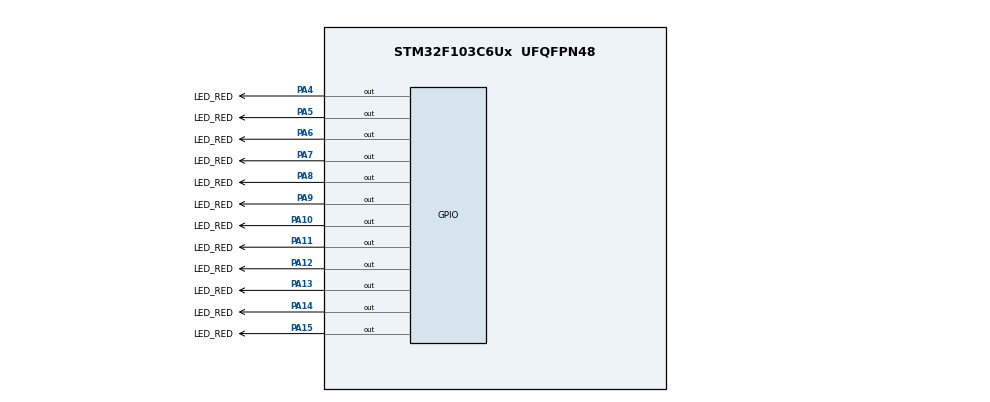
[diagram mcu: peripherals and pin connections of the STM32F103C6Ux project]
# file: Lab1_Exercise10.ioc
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Mcu.Family=STM32F1
Mcu.Name=STM32F103C6Ux
Mcu.Package=UFQFPN48
NVIC.PriorityGroup=NVIC_PRIORITYGROUP_4
PA10.GPIO_Label=LED_RED
PA10.PinState=GPIO_PIN_SET
PA10.Signal=GPIO_Output
PA11.GPIO_Label=LED_RED
PA11.PinState=GPIO_PIN_SET
PA11.Signal=GPIO_Output
PA12.GPIO_Label=LED_RED
PA12.PinState=GPIO_PIN_SET
PA12.Signal=GPIO_Output
PA13.GPIO_Label=LED_RED
PA13.PinState=GPIO_PIN_SET
PA13.Signal=GPIO_Output
PA14.GPIO_Label=LED_RED
PA14.PinState=GPIO_PIN_SET
PA14.Signal=GPIO_Output
PA15.GPIO_Label=LED_RED
PA15.PinState=GPIO_PIN_SET
PA15.Signal=GPIO_Output
PA4.GPIO_Label=LED_RED
PA4.PinState=GPIO_PIN_SET
PA4.Signal=GPIO_Output
PA5.GPIO_Label=LED_RED
PA5.PinState=GPIO_PIN_SET
PA5.Signal=GPIO_Output
PA6.GPIO_Label=LED_RED
PA6.PinState=GPIO_PIN_SET
PA6.Signal=GPIO_Output
PA7.GPIO_Label=LED_RED
PA7.PinState=GPIO_PIN_SET
PA7.Signal=GPIO_Output
PA8.GPIO_Label=LED_RED
PA8.PinState=GPIO_PIN_SET
PA8.Signal=GPIO_Output
PA9.GPIO_Label=LED_RED
PA9.PinState=GPIO_PIN_SET
PA9.Signal=GPIO_Output
ProjectManager.HeapSize=0x200
ProjectManager.StackSize=0x400
ProjectManager.TargetToolchain=STM32CubeIDE
RCC.APB1Freq_Value=8000000
RCC.APB2Freq_Value=8000000
VP_SYS_VS_ND.Mode=No_Debug
board=custom

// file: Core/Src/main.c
/* USER CODE BEGIN Header */
/**
  ******************************************************************************
  * @file           : main.c
  * @brief          : Main program body
  ******************************************************************************
  * @attention
  *
  * <h2><center>&copy; Copyright (c) 2026 STMicroelectronics.
  * All rights reserved.</center></h2>
  *
  * This software component is licensed by ST under BSD 3-Clause license,
  * the "License"; You may not use this file except in compliance with the
  * License. You may obtain a copy of the License at:
  *                        opensource.org/licenses/BSD-3-Clause
  *
  ******************************************************************************
  */
/* USER CODE END Header */
#include "main.h"

/* USER CODE BEGIN PV */
/* USER CODE BEGIN PV */

uint8_t hour_ex10   = 3;
uint8_t minute_ex10 = 25;
uint8_t second_ex10 = 40;

/* USER CODE END PV */
/* USER CODE END PV */

void SystemClock_Config(void);
static void MX_GPIO_Init(void);

/* USER CODE BEGIN 0 */
void clearAllClock(void)
{
    HAL_GPIO_WritePin(GPIOA,
                      GPIO_PIN_4  | GPIO_PIN_5  | GPIO_PIN_6  |
                      GPIO_PIN_7  | GPIO_PIN_8  | GPIO_PIN_9  |
                      GPIO_PIN_10 | GPIO_PIN_11 | GPIO_PIN_12 |
                      GPIO_PIN_13 | GPIO_PIN_14 | GPIO_PIN_15,
                      GPIO_PIN_SET);
}

void setNumberOnClock(int num)
{
    switch (num)
    {
        case 0:
            HAL_GPIO_WritePin(GPIOA, GPIO_PIN_4, GPIO_PIN_RESET);
            break;

        case 1:
            HAL_GPIO_WritePin(GPIOA, GPIO_PIN_5, GPIO_PIN_RESET);
            break;

        case 2:
            HAL_GPIO_WritePin(GPIOA, GPIO_PIN_6, GPIO_PIN_RESET);
            break;

        case 3:
            HAL_GPIO_WritePin(GPIOA, GPIO_PIN_7, GPIO_PIN_RESET);
            break;

        case 4:
            HAL_GPIO_WritePin(GPIOA, GPIO_PIN_8, GPIO_PIN_RESET);
            break;

        case 5:
            HAL_GPIO_WritePin(GPIOA, GPIO_PIN_9, GPIO_PIN_RESET);
            break;

        case 6:
            HAL_GPIO_WritePin(GPIOA, GPIO_PIN_10, GPIO_PIN_RESET);
            break;

        case 7:
            HAL_GPIO_WritePin(GPIOA, GPIO_PIN_11, GPIO_PIN_RESET);
            break;

        case 8:
            HAL_GPIO_WritePin(GPIOA, GPIO_PIN_12, GPIO_PIN_RESET);
            break;

        case 9:
            HAL_GPIO_WritePin(GPIOA, GPIO_PIN_13, GPIO_PIN_RESET);
            break;

        case 10:
            HAL_GPIO_WritePin(GPIOA, GPIO_PIN_14, GPIO_PIN_RESET);
            break;

        case 11:
            HAL_GPIO_WritePin(GPIOA, GPIO_PIN_15, GPIO_PIN_RESET);
            break;

        default:
            break;
    }
}

void clearNumberOnClock(int num)
{
    switch (num)
    {
        case 0:
            HAL_GPIO_WritePin(GPIOA, GPIO_PIN_4, GPIO_PIN_SET);
            break;

        case 1:
            HAL_GPIO_WritePin(GPIOA, GPIO_PIN_5, GPIO_PIN_SET);
            break;

        case 2:
            HAL_GPIO_WritePin(GPIOA, GPIO_PIN_6, GPIO_PIN_SET);
            break;

        case 3:
            HAL_GPIO_WritePin(GPIOA, GPIO_PIN_7, GPIO_PIN_SET);
            break;

        case 4:
            HAL_GPIO_WritePin(GPIOA, GPIO_PIN_8, GPIO_PIN_SET);
            break;

        case 5:
            HAL_GPIO_WritePin(GPIOA, GPIO_PIN_9, GPIO_PIN_SET);
            break;

        case 6:
            HAL_GPIO_WritePin(GPIOA, GPIO_PIN_10, GPIO_PIN_SET);
            break;

        case 7:
            HAL_GPIO_WritePin(GPIOA, GPIO_PIN_11, GPIO_PIN_SET);
            break;

        case 8:
            HAL_GPIO_WritePin(GPIOA, GPIO_PIN_12, GPIO_PIN_SET);
            break;

        case 9:
            HAL_GPIO_WritePin(GPIOA, GPIO_PIN_13, GPIO_PIN_SET);
            break;

        case 10:
            HAL_GPIO_WritePin(GPIOA, GPIO_PIN_14, GPIO_PIN_SET);
            break;

        case 11:
            HAL_GPIO_WritePin(GPIOA, GPIO_PIN_15, GPIO_PIN_SET);
            break;

        default:
            break;
    }
}

void displayClock(void)
{
    uint8_t hourPosition;
    uint8_t minutePosition;
    uint8_t secondPosition;

    /*
     * Convert time to positions 0..11
     *
     * Example:
     * 03:25:40
     *
     * hour   -> 3
     * minute -> 25 / 5 = 5
     * second -> 40 / 5 = 8
     */
    hourPosition   = hour_ex10 % 12;
    minutePosition = minute_ex10 / 5;
    secondPosition = second_ex10 / 5;

    // Clear previous display
    clearAllClock();

    // Display hour
    setNumberOnClock(hourPosition);

    // Display minute
    setNumberOnClock(minutePosition);

    // Display second
    setNumberOnClock(secondPosition);
}

/* =========================================================
 * Increase clock time by 1 second
 * ========================================================= */
void updateClock(void)
{
    second_ex10++;

    // 60 seconds -> increase minute
    if (second_ex10 >= 60)
    {
        second_ex10 = 0;
        minute_ex10++;
    }

    // 60 minutes -> increase hour
    if (minute_ex10 >= 60)
    {
        minute_ex10 = 0;
        hour_ex10++;
    }

    // 12 hours -> return to 0
    if (hour_ex10 >= 12)
    {
        hour_ex10 = 0;
    }
}

void EX10_RUN(void)
{
    updateClock();
    displayClock();
}
/* USER CODE END 0 */

int main(void)
{

  /* MCU Configuration--------------------------------------------------------*/

  /* Reset of all peripherals, Initializes the Flash interface and the Systick. */
  HAL_Init();

  /* Configure the system clock */
  SystemClock_Config();

  /* Initialize all configured peripherals */
  MX_GPIO_Init();
  /* USER CODE BEGIN 2 */
  displayClock();
  /* USER CODE END 2 */

  /* Infinite loop */
  while (1)
  {
	  HAL_Delay(1000);
      EX10_RUN();
  }
}

void SystemClock_Config(void)
{
  RCC_OscInitTypeDef RCC_OscInitStruct = {0};
  RCC_ClkInitTypeDef RCC_ClkInitStruct = {0};

  /** Initializes the RCC Oscillators according to the specified parameters
  * in the RCC_OscInitTypeDef structure.
  */
  RCC_OscInitStruct.OscillatorType = RCC_OSCILLATORTYPE_HSI;
  RCC_OscInitStruct.HSIState = RCC_HSI_ON;
  RCC_OscInitStruct.HSICalibrationValue = RCC_HSICALIBRATION_DEFAULT;
  RCC_OscInitStruct.PLL.PLLState = RCC_PLL_NONE;
  if (HAL_RCC_OscConfig(&RCC_OscInitStruct) != HAL_OK)
  {
    Error_Handler();
  }
  /** Initializes the CPU, AHB and APB buses clocks
  */
  RCC_ClkInitStruct.ClockType = RCC_CLOCKTYPE_HCLK|RCC_CLOCKTYPE_SYSCLK
                              |RCC_CLOCKTYPE_PCLK1|RCC_CLOCKTYPE_PCLK2;
  RCC_ClkInitStruct.SYSCLKSource = RCC_SYSCLKSOURCE_HSI;
  RCC_ClkInitStruct.AHBCLKDivider = RCC_SYSCLK_DIV1;
  RCC_ClkInitStruct.APB1CLKDivider = RCC_HCLK_DIV1;
  RCC_ClkInitStruct.APB2CLKDivider = RCC_HCLK_DIV1;

  if (HAL_RCC_ClockConfig(&RCC_ClkInitStruct, FLASH_LATENCY_0) != HAL_OK)
  {
    Error_Handler();
  }
}

static void MX_GPIO_Init(void)
{
  GPIO_InitTypeDef GPIO_InitStruct = {0};

  /* GPIO Ports Clock Enable */
  __HAL_RCC_GPIOA_CLK_ENABLE();

  /*Configure GPIO pin Output Level */
  HAL_GPIO_WritePin(GPIOA, LED_RED_Pin|LED_REDA5_Pin|LED_REDA6_Pin|LED_REDA7_Pin
                          |LED_REDA8_Pin|LED_REDA9_Pin|LED_REDA10_Pin|LED_REDA11_Pin
                          |LED_REDA12_Pin|LED_REDA13_Pin|LED_REDA14_Pin|LED_REDA15_Pin, GPIO_PIN_SET);

  /*Configure GPIO pins : LED_RED_Pin LED_REDA5_Pin LED_REDA6_Pin LED_REDA7_Pin
                           LED_REDA8_Pin LED_REDA9_Pin LED_REDA10_Pin LED_REDA11_Pin
                           LED_REDA12_Pin LED_REDA13_Pin LED_REDA14_Pin LED_REDA15_Pin */
  GPIO_InitStruct.Pin = LED_RED_Pin|LED_REDA5_Pin|LED_REDA6_Pin|LED_REDA7_Pin
                          |LED_REDA8_Pin|LED_REDA9_Pin|LED_REDA10_Pin|LED_REDA11_Pin
                          |LED_REDA12_Pin|LED_REDA13_Pin|LED_REDA14_Pin|LED_REDA15_Pin;
  GPIO_InitStruct.Mode = GPIO_MODE_OUTPUT_PP;
  GPIO_InitStruct.Pull = GPIO_NOPULL;
  GPIO_InitStruct.Speed = GPIO_SPEED_FREQ_LOW;
  HAL_GPIO_Init(GPIOA, &GPIO_InitStruct);

}

void Error_Handler(void)
{
  __disable_irq();
  while (1)
  {
  }
}

/************************ (C) COPYRIGHT STMicroelectronics *****END OF FILE****/
